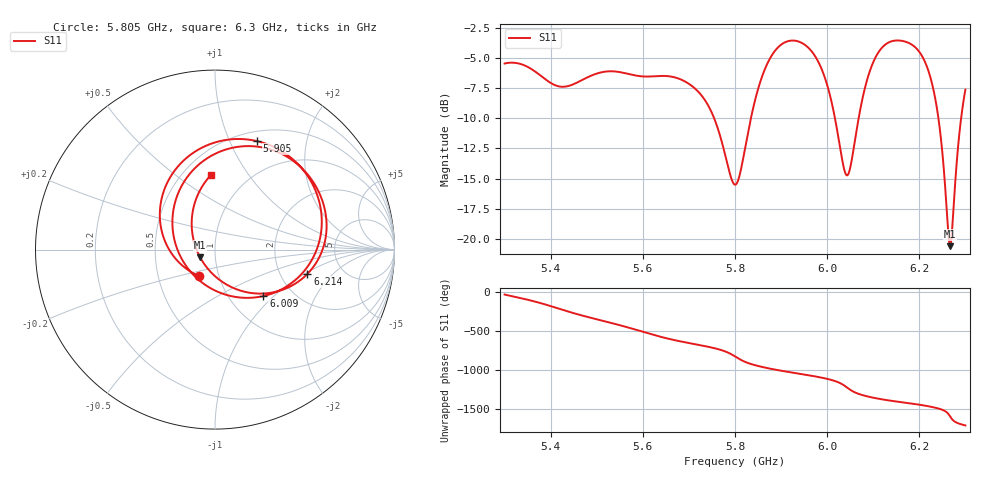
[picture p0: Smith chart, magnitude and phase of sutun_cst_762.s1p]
! TOUCHSTONE file generated by CST MICROWAVE STUDIO
! Date and time: Fri Oct  9 17:20:42 2026
! Project name: sutun_cst_762.cst
! Parameters = {L=15.74; W=19.1; d=25.9; d1=17.8; er=2.65; h=0.762; ha=0; kenar=13; lc=15.01; lp=10; lt=6; p=30.75; ph=5; pw=3.8; t=0.035; tand=0.0019; w50=2.1; wt=4.4}
! Header version: 2024
! Port assignment regex: !\s*Touchstone port\s*([0-9]+)\s*=\s*(CST MWS port|CST DES external port|CST DES block port)\s*(.+)\s* \(\"(.*)\"\)(\s*mode\s*([0-9]+))?.*
! Touchstone port assignment:
! Touchstone port 1 = CST MWS port 1 ("")
# GHz S MA R 50
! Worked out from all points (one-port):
!   1001 points, 5.3 GHz to 6.3 GHz, reference 50 ohm
!   lowest |S11| = -20.6 dB at 6.267 GHz (marker M1), VSWR 1.21, Z = 42.2 - j3.6 ohm
!   |S11| at or under -10 dB: 5.755 GHz to 5.834 GHz (79.65 MHz wide, 1.37 % of centre); 6.017 GHz to 6.068 GHz (51.32 MHz wide, 0.849 % of centre); 6.241 GHz to 6.291 GHz (49.23 MHz wide, 0.786 % of centre)
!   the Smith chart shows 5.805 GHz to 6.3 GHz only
!   S11 on the Smith chart (normalised r, x): 5.805 GHz: 0.81, -0.24; 5.905 GHz: 0.61, +1.27; 6.009 GHz: 1.43, -0.86; 6.214 GHz: 2.83, -1.07; 6.3 GHz: 0.68, +0.68
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5.3  0.5335 -30.6
5.356  0.5091 -105.6
5.392  0.4538 -164.0
5.425  0.4273 135.5
5.459  0.4465 75.7
5.497  0.4825 17.1
5.523  0.4948 -21.2
5.55  0.4915 -62.8
5.579  0.4779 -111.1
5.613  0.4712 -170.1
5.647  0.4738 135.7
5.675  0.4639 97.8
5.741  0.3598 21.6
5.8  0.1679 -102.6
5.805  0.1716 -120.8
5.85  0.4178 134.8
5.905  0.648 69.0
5.925  0.6642 49.3
5.968  0.5937 7.7
6.009  0.3738 -43.9
6.05  0.1971 -169.6
6.076  0.3768 122.8
6.108  0.5799 79.2
6.175  0.6518 20.3
6.214  0.5326 -14.7
6.241  0.3209 -49.2
6.267  0.09337 -153.1
6.3  0.416 93.1
